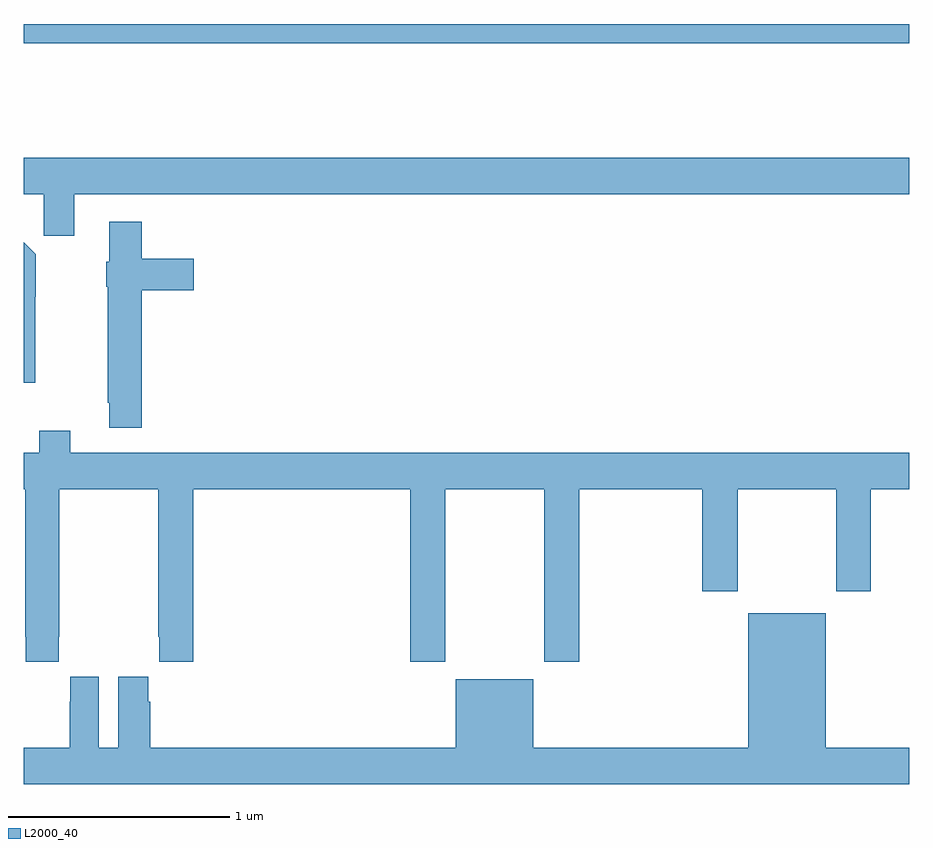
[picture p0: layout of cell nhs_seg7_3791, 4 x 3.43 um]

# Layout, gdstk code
import gdstk
lib = gdstk.Library(unit=1e-6, precision=1e-09)
def R(c, l, rs):  # rectangles x0, y0, x1, y1
    for r in rs: c.add(gdstk.rectangle(r[:2], r[2:], *l))
def P(c, l, *ps):  # polygons
    for p in ps: c.add(gdstk.Polygon(p, *l))
L2000_40 = (2000, 40)

nhs_seg7_3791 = lib.new_cell('nhs_seg7_3791')
R(nhs_seg7_3791, L2000_40, [(351,1051.912,355,1052)])
P(nhs_seg7_3791, L2000_40, [(351.229,1051.232),(355,1051.232),(355,1051.396),(351,1051.396),(351,1051.232),(351.091,1051.232),(351.091,1051.044),(351.229,1051.044)],
  [(351.533,1050.797),(351.769,1050.797),(351.769,1050.939),(351.533,1050.939),(351.533,1051.108),(351.386,1051.108),(351.386,1050.927),(351.373,1050.927),(351.373,1050.813),(351.379,1050.813),(351.379,1050.289),(351.386,1050.289),(351.386,1050.177),(351.533,1050.177)],
  [(351.052,1050.769),(351.054,1050.769),(351.054,1050.96),(351,1051.014),(351,1050.381),(351.052,1050.381)],
  [(351.159,1049.233),(351.162,1049.233),(351.162,1049.9),(351.607,1049.9),(351.607,1049.233),(351.613,1049.233),(351.613,1049.121),(351.767,1049.121),(351.767,1049.9),(352.745,1049.9),(352.745,1049.121),(352.905,1049.121),(352.905,1049.9),(353.35,1049.9),(353.35,1049.121),(353.51,1049.121),(353.51,1049.9),(354.065,1049.9),(354.065,1049.439),(354.225,1049.439),(354.225,1049.9),(354.67,1049.9),(354.67,1049.439),(354.825,1049.439),(354.825,1049.9),(355,1049.9),(355,1050.064),(351.211,1050.064),(351.211,1050.163),(351.071,1050.163),(351.071,1050.064),(351,1050.064),(351,1049.9),(351.007,1049.9),(351.007,1049.233),(351.009,1049.233),(351.009,1049.121),(351.159,1049.121)],
  [(355,1048.732),(354.622,1048.732),(354.622,1049.338),(354.272,1049.338),(354.272,1048.732),(353.302,1048.732),(353.302,1049.041),(352.952,1049.041),(352.952,1048.732),(351.572,1048.732),(351.572,1048.94),(351.562,1048.94),(351.562,1049.053),(351.428,1049.053),(351.428,1048.732),(351.34,1048.732),(351.34,1049.053),(351.21,1049.053),(351.21,1048.94),(351.209,1048.94),(351.209,1048.732),(351,1048.732),(351,1048.568),(355,1048.568)])

lib.write_gds('nhs_seg7_3791.gds')
